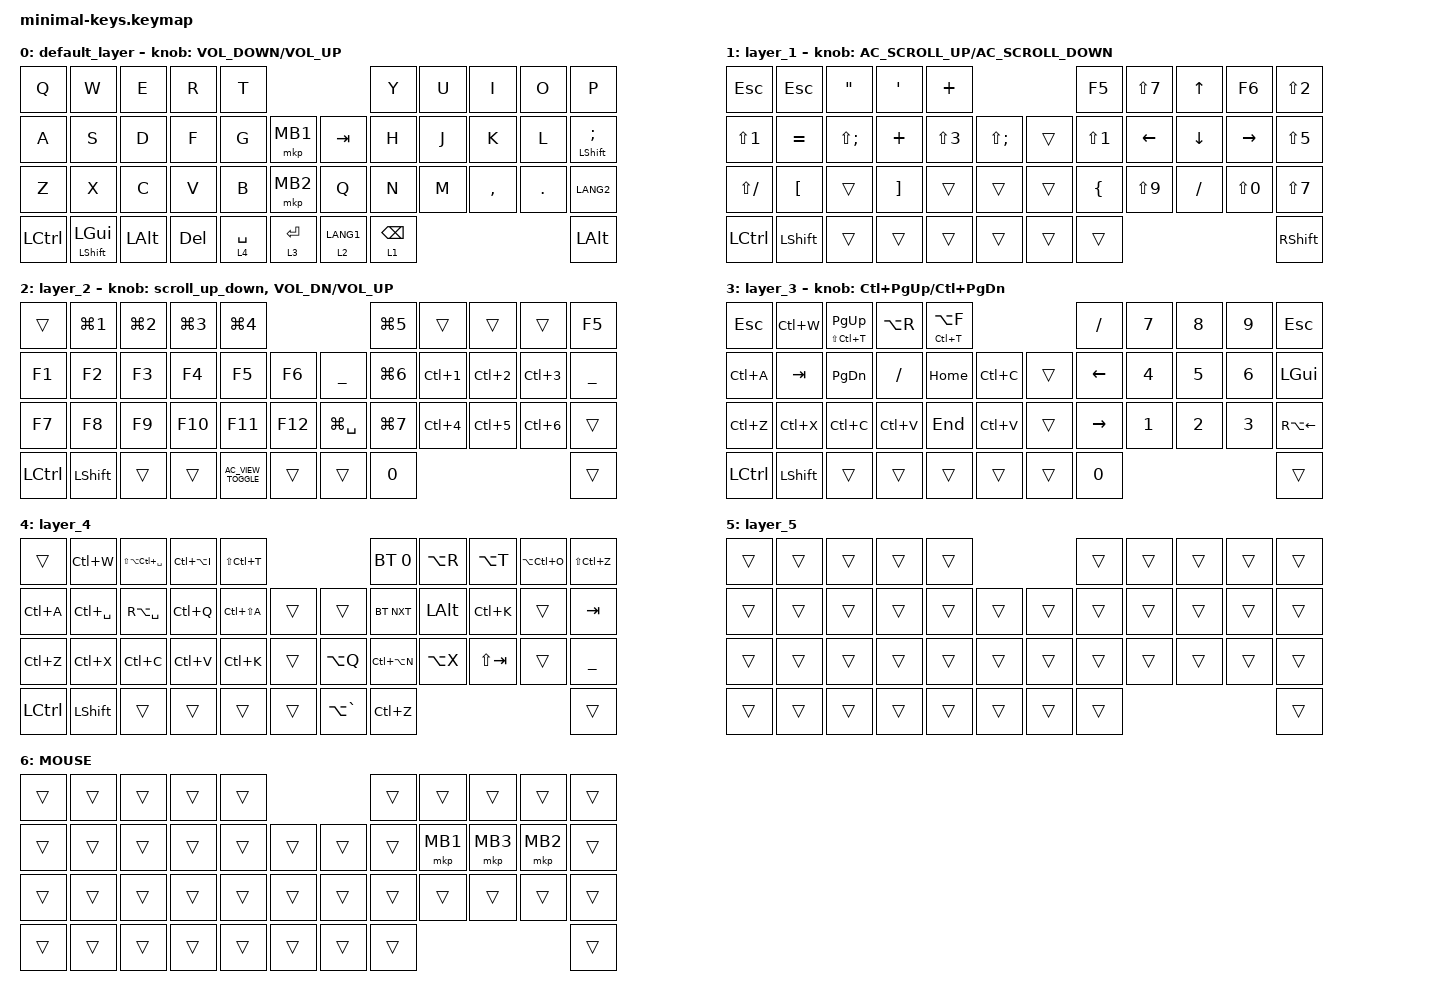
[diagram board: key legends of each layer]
#include <behaviors.dtsi>
#include <dt-bindings/zmk/bt.h>
#include <dt-bindings/zmk/keys.h>
#include <dt-bindings/zmk/pointing.h>

#undef ZMK_POINTING_DEFAULT_SCRL_VAL

#define ZMK_POINTING_DEFAULT_SCRL_VAL 100
#define MOUSE 6

&mt {
    flavor = "balanced";
    quick-tap-ms = <0>;
};

/ {
    combos { compatible = "zmk,combos"; };

    macros {
        to_layer_0: to_layer_0 {
            compatible = "zmk,behavior-macro-one-param";
            #binding-cells = <1>;
            bindings = <&to 0 &macro_param_1to1 &kp MACRO_PLACEHOLDER>;
            label = "TO_LAYER_0";
        };
    };

    behaviors {
        lt_to_layer_0: lt_to_layer_0 {
            compatible = "zmk,behavior-hold-tap";
            label = "LAYER_TAP_TO_0";
            bindings = <&mo>, <&to_layer_0>;

            #binding-cells = <2>;
            tapping-term-ms = <200>;
        };

        scroll_up_down: behavior_sensor_rotate_mouse_wheel_up_down {
            compatible = "zmk,behavior-sensor-rotate";
            #sensor-binding-cells = <0>;
            bindings = <&msc SCRL_UP>, <&msc SCRL_DOWN>;

            tap-ms = <20>;
        };

        scroll: scroll {
            compatible = "zmk,behavior-sensor-rotate";
            label = "SCROLL";
            #sensor-binding-cells = <0>;
            bindings = <&msc SCRL_DOWN>, <&msc SCRL_UP>;
        };
    };

    keymap {
        compatible = "zmk,keymap";

        default_layer {
            bindings = <
&kp Q             &kp W                    &kp E         &kp R       &kp T                                    &kp Y            &kp U  &kp I      &kp O    &kp P
&kp A             &kp S                    &kp D         &kp F       &kp G        &mkp MB1       &kp TAB      &kp H            &kp J  &kp K      &kp L    &mt LEFT_SHIFT SEMICOLON
&kp Z             &kp X                    &kp C         &kp V       &kp B        &mkp MB2       &kp Q        &kp N            &kp M  &kp COMMA  &kp DOT  &kp LANG2
&kp LEFT_CONTROL  &mt LEFT_SHIFT LEFT_GUI  &kp LEFT_ALT  &kp DELETE  &lt 4 SPACE  &lt 3 ENTER    &lt 2 LANG1  &lt 1 BACKSPACE                             &kp LEFT_ALT
            >;

            sensor-bindings = <&inc_dec_kp C_VOLUME_DOWN C_VOLUME_UP>;
        };

        layer_1 {
            bindings = <
&kp ESCAPE        &kp ESCAPE        &kp DOUBLE_QUOTES  &kp SINGLE_QUOTE   &kp PLUS                                       &kp F5            &kp LS(NUMBER_7)  &kp UP_ARROW    &kp F6            &kp LS(NUMBER_2)
&kp LS(NUMBER_1)  &kp EQUAL         &kp LS(SEMICOLON)  &kp PLUS           &kp LS(NUMBER_3)  &kp LS(SEMICOLON)    &trans  &kp LS(NUMBER_1)  &kp LEFT_ARROW    &kp DOWN_ARROW  &kp RIGHT_ARROW   &kp LS(NUMBER_5)
&kp LS(SLASH)     &kp LEFT_BRACKET  &trans             &kp RIGHT_BRACKET  &trans            &trans               &trans  &kp LEFT_BRACE    &kp LS(NUMBER_9)  &kp SLASH       &kp LS(NUMBER_0)  &kp LS(NUMBER_7)
&kp LEFT_CONTROL  &kp LEFT_SHIFT    &trans             &trans             &trans            &trans               &trans  &trans                                                                &kp RIGHT_SHIFT
            >;

            sensor-bindings = <&inc_dec_kp C_AC_SCROLL_UP C_AC_SCROLL_DOWN>;
        };

        layer_2 {
            bindings = <
&trans            &kp LG(NUMBER_1)  &kp LG(NUMBER_2)  &kp LG(NUMBER_3)  &kp LG(NUMBER_4)                                 &kp LG(NUMBER_5)  &trans            &trans            &trans            &kp F5
&kp F1            &kp F2            &kp F3            &kp F4            &kp F5                &kp F6     &kp UNDERSCORE  &kp LG(NUMBER_6)  &kp LC(NUMBER_1)  &kp LC(NUMBER_2)  &kp LC(NUMBER_3)  &kp UNDERSCORE
&kp F7            &kp F8            &kp F9            &kp F10           &kp F11               &kp F12    &kp LG(SPACE)   &kp LG(NUMBER_7)  &kp LC(NUMBER_4)  &kp LC(N5)        &kp LC(NUMBER_6)  &trans
&kp LEFT_CONTROL  &kp LSHFT         &trans            &trans            &kp C_AC_VIEW_TOGGLE  &trans     &trans          &kp NUMBER_0                                                            &trans
            >;

            sensor-bindings =
                <&scroll_up_down>,
                <&inc_dec_kp C_VOL_DN C_VOL_UP>;
        };

        layer_3 {
            bindings = <
&kp ESCAPE        &kp LC(W)       &mt LS(LC(T)) PAGE_UP  &kp LA(R)  &mt LC(T) LA(F)                       &kp SLASH        &kp NUMBER_7  &kp NUMBER_8  &kp NUMBER_9  &kp ESCAPE
&kp LC(A)         &kp TAB         &kp PAGE_DOWN          &kp SLASH  &kp HOME         &kp LC(C)    &trans  &kp LEFT_ARROW   &kp NUMBER_4  &kp NUMBER_5  &kp NUMBER_6  &kp LEFT_GUI
&kp LC(Z)         &kp LC(X)       &kp LC(C)              &kp LC(V)  &kp END          &kp LC(V)    &trans  &kp RIGHT_ARROW  &kp NUMBER_1  &kp NUMBER_2  &kp NUMBER_3  &kp RA(LEFT_ARROW)
&kp LEFT_CONTROL  &kp LEFT_SHIFT  &trans                 &trans     &trans           &trans       &trans  &kp NUMBER_0                                               &trans
            >;

            sensor-bindings = <&inc_dec_kp LC(PAGE_UP) LC(PAGE_DOWN)>;
        };

        layer_4 {
            bindings = <
&trans            &kp LC(W)       &kp LS(LA(LC(SPACE)))  &kp LC(LA(I))  &kp LS(LC(T))                           &bt BT_SEL 0   &kp LA(R)     &kp LA(T)    &kp LA(LC(O))  &kp LS(LC(Z))
&kp LC(A)         &kp LC(SPACE)   &kp RA(SPACE)          &kp LC(Q)      &kp LC(LS(A))  &trans    &trans         &bt BT_NXT     &kp LEFT_ALT  &kp LC(K)    &trans         &kp TAB
&kp LC(Z)         &kp LC(X)       &kp LC(C)              &kp LC(V)      &kp LC(K)      &trans    &kp LA(Q)      &kp LC(LA(N))  &kp LA(X)     &kp LS(TAB)  &trans         &kp UNDER
&kp LEFT_CONTROL  &kp LEFT_SHIFT  &trans                 &trans         &trans         &trans    &kp LA(GRAVE)  &kp LC(Z)                                                &trans
            >;
        };

        layer_5 {
            bindings = <
&trans  &trans  &trans  &trans  &trans                    &trans  &trans  &trans  &trans  &trans
&trans  &trans  &trans  &trans  &trans  &trans    &trans  &trans  &trans  &trans  &trans  &trans
&trans  &trans  &trans  &trans  &trans  &trans    &trans  &trans  &trans  &trans  &trans  &trans
&trans  &trans  &trans  &trans  &trans  &trans    &trans  &trans                          &trans
            >;
        };

        MOUSE {
            bindings = <
&trans  &trans  &trans  &trans  &trans                    &trans  &trans    &trans    &trans    &trans
&trans  &trans  &trans  &trans  &trans  &trans    &trans  &trans  &mkp MB1  &mkp MB3  &mkp MB2  &trans
&trans  &trans  &trans  &trans  &trans  &trans    &trans  &trans  &trans    &trans    &trans    &trans
&trans  &trans  &trans  &trans  &trans  &trans    &trans  &trans                                &trans
            >;
        };
    };
};
